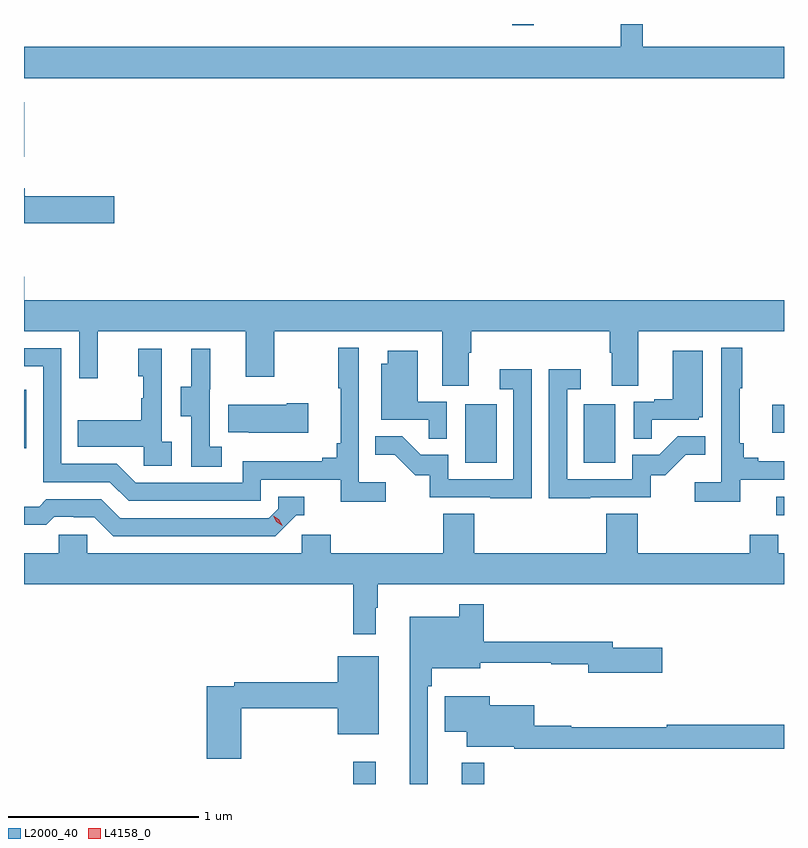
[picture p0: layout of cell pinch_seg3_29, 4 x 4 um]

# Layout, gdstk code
import gdstk
lib = gdstk.Library(unit=1e-6, precision=1e-09)
def R(c, l, rs):  # rectangles x0, y0, x1, y1
    for r in rs: c.add(gdstk.rectangle(r[:2], r[2:], *l))
def P(c, l, *ps):  # polygons
    for p in ps: c.add(gdstk.Polygon(p, *l))
L2000_40 = (2000, 40)
L4158_0 = (4158, 0)

pinch_seg3_29 = lib.new_cell('pinch_seg3_29')
R(pinch_seg3_29, L2000_40, [(1085.629,742.489,1085.747,742.606), (1086.2,742.489,1086.317,742.6), (1087.853,743.904,1087.895,744), (1086.218,744.18,1086.382,744.487), (1086.842,744.18,1087.006,744.487), (1083.895,744.255,1083.906,744.564), (1087.833,744.338,1087.895,744.486), (1083.895,745.79,1083.896,746.077), (1086.464,746.483,1086.579,746.489)])
P(pinch_seg3_29, L2000_40, [(1087.895,746.368),(1087.151,746.368),(1087.151,746.489),(1087.035,746.489),(1087.035,746.368),(1083.895,746.368),(1083.895,746.204),(1087.895,746.204)],
  [(1084.369,745.583),(1083.898,745.583),(1083.898,745.624),(1083.895,745.624),(1083.895,745.441),(1084.369,745.441)],
  [(1086.235,744.76),(1086.248,744.76),(1086.248,744.872),(1086.977,744.872),(1086.977,744.76),(1086.989,744.76),(1086.989,744.586),(1087.129,744.586),(1087.129,744.872),(1087.895,744.872),(1087.895,745.036),(1083.896,745.036),(1083.896,745.16),(1083.895,745.16),(1083.895,744.872),(1084.185,744.872),(1084.185,744.624),(1084.283,744.624),(1084.283,744.872),(1085.063,744.872),(1085.063,744.633),(1085.211,744.633),(1085.211,744.872),(1086.095,744.872),(1086.095,744.586),(1086.235,744.586)],
  [(1087.664,744.09),(1087.895,744.09),(1087.895,744.187),(1087.759,744.187),(1087.759,744.206),(1087.682,744.206),(1087.682,744.283),(1087.663,744.283),(1087.663,744.571),(1087.675,744.571),(1087.675,744.784),(1087.566,744.784),(1087.566,744.076),(1087.425,744.076),(1087.425,743.974),(1087.664,743.974)],
  [(1085.8,744.076),(1085.658,744.076),(1085.658,744.784),(1085.55,744.784),(1085.55,744.571),(1085.561,744.571),(1085.561,744.283),(1085.542,744.283),(1085.542,744.206),(1085.465,744.206),(1085.465,744.187),(1085.046,744.187),(1085.046,744.075),(1084.482,744.075),(1084.383,744.174),(1084.092,744.174),(1084.092,744.783),(1083.895,744.783),(1083.895,744.687),(1083.996,744.687),(1083.996,744.078),(1084.346,744.078),(1084.445,743.979),(1085.142,743.979),(1085.142,744.09),(1085.561,744.09),(1085.561,743.974),(1085.8,743.974)],
  [(1084.672,744.29),(1084.62,744.29),(1084.62,744.781),(1084.496,744.781),(1084.496,744.636),(1084.522,744.636),(1084.522,744.518),(1084.512,744.518),(1084.512,744.403),(1084.177,744.403),(1084.177,744.263),(1084.524,744.263),(1084.524,744.165),(1084.672,744.165)],
  [(1084.936,744.263),(1084.872,744.263),(1084.872,744.567),(1084.874,744.567),(1084.874,744.781),(1084.775,744.781),(1084.775,744.579),(1084.721,744.579),(1084.721,744.424),(1084.776,744.424),(1084.776,744.16),(1084.936,744.16)],
  [(1086.12,744.501),(1085.968,744.501),(1085.968,744.769),(1085.81,744.769),(1085.81,744.7),(1085.774,744.7),(1085.774,744.405),(1086.025,744.405),(1086.025,744.307),(1086.12,744.307)],
  [(1087.199,744.405),(1087.446,744.405),(1087.446,744.42),(1087.468,744.42),(1087.468,744.769),(1087.31,744.769),(1087.31,744.514),(1087.211,744.514),(1087.211,744.501),(1087.104,744.501),(1087.104,744.307),(1087.199,744.307)],
  [(1086.567,744.673),(1086.399,744.673),(1086.399,744.567),(1086.471,744.567),(1086.471,744.093),(1086.129,744.093),(1086.129,744.222),(1085.984,744.222),(1085.887,744.319),(1085.743,744.319),(1085.743,744.221),(1085.847,744.221),(1085.954,744.114),(1086.031,744.114),(1086.031,743.997),(1086.349,743.997),(1086.349,743.992),(1086.567,743.992)],
  [(1086.875,743.997),(1087.194,743.997),(1087.194,744.114),(1087.27,744.114),(1087.377,744.221),(1087.481,744.221),(1087.481,744.32),(1087.337,744.32),(1087.239,744.222),(1087.095,744.222),(1087.095,744.093),(1086.753,744.093),(1086.753,744.567),(1086.826,744.567),(1086.826,744.673),(1086.657,744.673),(1086.657,743.992),(1086.875,743.992)],
  [(1085.392,744.492),(1085.279,744.492),(1085.279,744.484),(1084.969,744.484),(1084.969,744.341),(1085.077,744.341),(1085.077,744.338),(1085.392,744.338)],
  [(1085.328,743.904),(1085.371,743.904),(1085.371,744),(1085.232,744),(1085.232,743.937),(1085.184,743.889),(1084.401,743.889),(1084.302,743.988),(1084.013,743.988),(1083.974,743.949),(1083.895,743.949),(1083.895,743.853),(1084.013,743.853),(1084.055,743.895),(1084.158,743.895),(1084.158,743.892),(1084.265,743.892),(1084.364,743.793),(1085.217,743.793)],
  [(1085.746,743.417),(1085.758,743.417),(1085.758,743.54),(1087.895,743.54),(1087.895,743.704),(1087.866,743.704),(1087.866,743.802),(1087.715,743.802),(1087.715,743.704),(1087.124,743.704),(1087.124,743.912),(1086.959,743.912),(1086.959,743.704),(1086.266,743.704),(1086.266,743.912),(1086.101,743.912),(1086.101,743.704),(1085.51,743.704),(1085.51,743.802),(1085.358,743.802),(1085.358,743.704),(1084.227,743.704),(1084.227,743.802),(1084.077,743.802),(1084.077,743.704),(1083.895,743.704),(1083.895,743.54),(1085.629,743.54),(1085.629,743.277),(1085.746,743.277)],
  [(1086.021,743.003),(1086.041,743.003),(1086.041,743.099),(1086.295,743.099),(1086.295,743.128),(1086.67,743.128),(1086.67,743.118),(1086.866,743.118),(1086.866,743.075),(1087.255,743.075),(1087.255,743.205),(1086.994,743.205),(1086.994,743.239),(1086.314,743.239),(1086.314,743.434),(1086.186,743.434),(1086.186,743.368),(1085.924,743.368),(1085.924,742.489),(1086.021,742.489)],
  [(1085.039,742.888),(1085.546,742.888),(1085.546,742.751),(1085.761,742.751),(1085.761,743.161),(1085.546,743.161),(1085.546,743.024),(1085.002,743.024),(1085.002,743.004),(1084.856,743.004),(1084.856,742.623),(1085.039,742.623)],
  [(1087.895,742.802),(1087.278,742.802),(1087.278,742.787),(1086.776,742.787),(1086.776,742.795),(1086.58,742.795),(1086.58,742.903),(1086.346,742.903),(1086.346,742.951),(1086.11,742.951),(1086.11,742.763),(1086.224,742.763),(1086.224,742.685),(1086.476,742.685),(1086.476,742.674),(1087.895,742.674)])
P(pinch_seg3_29, L4158_0, [(1085.254,743.849),(1085.223,743.869),(1085.206,743.901),(1085.206,743.902),(1085.207,743.902),(1085.237,743.882),(1085.254,743.85),(1085.254,743.849)])

lib.write_gds('pinch_seg3_29.gds')
